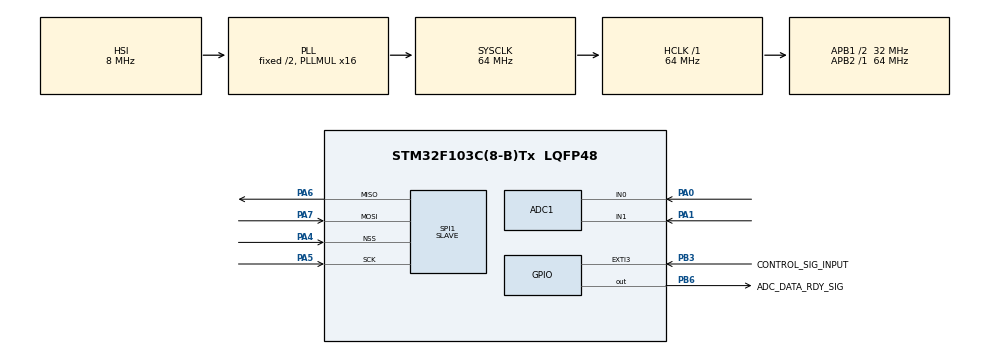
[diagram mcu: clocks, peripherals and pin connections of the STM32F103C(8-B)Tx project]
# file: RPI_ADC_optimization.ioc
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ADC1.Channel-1\#ChannelRegularConversion=ADC_CHANNEL_0
ADC1.Channel-2\#ChannelRegularConversion=ADC_CHANNEL_1
ADC1.ContinuousConvMode=ENABLE
ADC1.Mode=ADC_DUALMODE_INTERLSLOW
ADC1.NbrOfConversion=2
ADC1.NbrOfConversionFlag=1
ADC1.Rank-1\#ChannelRegularConversion=1
ADC1.Rank-2\#ChannelRegularConversion=2
ADC1.SamplingTime-1\#ChannelRegularConversion=ADC_SAMPLETIME_13CYCLES_5
ADC1.SamplingTime-2\#ChannelRegularConversion=ADC_SAMPLETIME_13CYCLES_5
ADC1.master=1
ADC2.Channel-2\#ChannelRegularConversion=ADC_CHANNEL_0
ADC2.Channel-3\#ChannelRegularConversion=ADC_CHANNEL_1
ADC2.ContinuousConvMode=ENABLE
ADC2.Mode=ADC_DUALMODE_INTERLSLOW
ADC2.NbrOfConversion=2
ADC2.NbrOfConversionFlag=1
ADC2.Rank-2\#ChannelRegularConversion=1
ADC2.Rank-3\#ChannelRegularConversion=2
ADC2.SamplingTime-2\#ChannelRegularConversion=ADC_SAMPLETIME_13CYCLES_5
ADC2.SamplingTime-3\#ChannelRegularConversion=ADC_SAMPLETIME_13CYCLES_5
Dma.ADC1.1.Direction=DMA_PERIPH_TO_MEMORY
Dma.ADC1.1.Instance=DMA1_Channel1
Dma.ADC1.1.MemDataAlignment=DMA_MDATAALIGN_WORD
Dma.ADC1.1.MemInc=DMA_MINC_ENABLE
Dma.ADC1.1.Mode=DMA_CIRCULAR
Dma.ADC1.1.PeriphDataAlignment=DMA_PDATAALIGN_WORD
Dma.ADC1.1.PeriphInc=DMA_PINC_DISABLE
Dma.ADC1.1.Priority=DMA_PRIORITY_VERY_HIGH
Dma.Request0=SPI1_RX
Dma.Request1=ADC1
Dma.Request2=SPI1_TX
Dma.SPI1_RX.0.Direction=DMA_PERIPH_TO_MEMORY
Dma.SPI1_RX.0.Instance=DMA1_Channel2
Dma.SPI1_RX.0.MemDataAlignment=DMA_MDATAALIGN_HALFWORD
Dma.SPI1_RX.0.MemInc=DMA_MINC_ENABLE
Dma.SPI1_RX.0.Mode=DMA_NORMAL
Dma.SPI1_RX.0.PeriphDataAlignment=DMA_PDATAALIGN_HALFWORD
Dma.SPI1_RX.0.PeriphInc=DMA_PINC_DISABLE
Dma.SPI1_RX.0.Priority=DMA_PRIORITY_LOW
Dma.SPI1_TX.2.Direction=DMA_MEMORY_TO_PERIPH
Dma.SPI1_TX.2.Instance=DMA1_Channel3
Dma.SPI1_TX.2.MemDataAlignment=DMA_MDATAALIGN_HALFWORD
Dma.SPI1_TX.2.MemInc=DMA_MINC_ENABLE
Dma.SPI1_TX.2.Mode=DMA_NORMAL
Dma.SPI1_TX.2.PeriphDataAlignment=DMA_PDATAALIGN_HALFWORD
Dma.SPI1_TX.2.PeriphInc=DMA_PINC_DISABLE
Dma.SPI1_TX.2.Priority=DMA_PRIORITY_LOW
Mcu.Family=STM32F1
Mcu.Name=STM32F103C(8-B)Tx
Mcu.Package=LQFP48
NVIC.DMA1_Channel1_IRQn=true\:1\:0\:true\:false\:true\:false\:true\:true
NVIC.DMA1_Channel2_IRQn=true\:1\:0\:true\:false\:true\:false\:true\:true
NVIC.DMA1_Channel3_IRQn=true\:1\:0\:true\:false\:true\:false\:true\:true
NVIC.EXTI3_IRQn=true\:0\:0\:false\:false\:true\:true\:true\:true
NVIC.PriorityGroup=NVIC_PRIORITYGROUP_4
PA0-WKUP.Signal=ADCx_IN0
PA1.Signal=ADCx_IN1
PA13.Mode=Serial_Wire
PA13.Signal=SYS_JTMS-SWDIO
PA14.Mode=Serial_Wire
PA14.Signal=SYS_JTCK-SWCLK
PA4.Mode=NSS_Signal_Hard_Input
PA4.Signal=SPI1_NSS
PA5.Mode=Full_Duplex_Slave
PA5.Signal=SPI1_SCK
PA6.Mode=Full_Duplex_Slave
PA6.Signal=SPI1_MISO
PA7.Mode=Full_Duplex_Slave
PA7.Signal=SPI1_MOSI
PB3.GPIO_Label=CONTROL_SIG_INPUT
PB3.GPIO_ModeDefaultEXTI=GPIO_MODE_IT_FALLING
PB3.GPIO_PuPd=GPIO_PULLUP
PB3.Signal=GPXTI3
PB6.GPIO_Label=ADC_DATA_RDY_SIG
PB6.Signal=GPIO_Output
PD0-OSC_IN.Mode=HSE-External-Oscillator
PD0-OSC_IN.Signal=RCC_OSC_IN
PD1-OSC_OUT.Mode=HSE-External-Oscillator
PD1-OSC_OUT.Signal=RCC_OSC_OUT
ProjectManager.HeapSize=0x200
ProjectManager.StackSize=0x400
ProjectManager.TargetToolchain=STM32CubeIDE
RCC.ADCPresc=RCC_ADCPCLK2_DIV6
RCC.AHBFreq_Value=64000000
RCC.APB1CLKDivider=RCC_HCLK_DIV2
RCC.APB1Freq_Value=32000000
RCC.APB1TimFreq_Value=64000000
RCC.APB2Freq_Value=64000000
RCC.APB2TimFreq_Value=64000000
RCC.HCLKFreq_Value=64000000
RCC.PLLMUL=RCC_PLL_MUL16
RCC.SYSCLKFreq_VALUE=64000000
RCC.SYSCLKSource=RCC_SYSCLKSOURCE_PLLCLK
RCC.USBFreq_Value=64000000
SH.ADCx_IN0.0=ADC1_IN0,IN0
SH.ADCx_IN0.1=ADC2_IN0,IN0
SH.ADCx_IN1.0=ADC1_IN1,IN1
SH.ADCx_IN1.1=ADC2_IN1,IN1
SPI1.CLKPhase=SPI_PHASE_1EDGE
SPI1.DataSize=SPI_DATASIZE_16BIT
SPI1.Direction=SPI_DIRECTION_2LINES
SPI1.Mode=SPI_MODE_SLAVE
SPI1.VirtualNSS=VM_NSSHARD
SPI1.VirtualType=VM_SLAVE
board=custom

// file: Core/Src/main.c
/* USER CODE BEGIN Header */
/**
  ******************************************************************************
  MADE by RASBI
  RPI4 + stm32f103c8t6 ADC with SPI
  2025-11-20 first write
  Version: 0.0.1

   Optimized on : 2026 04/07 SAT 15:40 KST
  ******************************************************************************
  */
/* USER CODE END Header */
#include "main.h"

/* USER CODE BEGIN Includes */
#include "adc_set_mode.h"
/* USER CODE END Includes */

/* USER CODE BEGIN PD */
#define BUFFER_SIZE 4096
/* USER CODE END PD */

ADC_HandleTypeDef hadc1;
ADC_HandleTypeDef hadc2;
DMA_HandleTypeDef hdma_adc1;

SPI_HandleTypeDef hspi1;
DMA_HandleTypeDef hdma_spi1_rx;
DMA_HandleTypeDef hdma_spi1_tx;

/* USER CODE BEGIN PV */
volatile uint16_t current_flag = ADC_MODE_STOP;
volatile uint16_t previous_flag = REFRESH_FLAG;
volatile uint16_t spi_transfer_flag = READY_STATUS;
volatile uint16_t exti_flag = WAITING_STATUS;
uint16_t buffer [BUFFER_SIZE];

/* USER CODE END PV */

void SystemClock_Config(void);
static void MX_GPIO_Init(void);
static void MX_DMA_Init(void);
static void MX_SPI1_Init(void);
static void MX_ADC1_Init(void);
static void MX_ADC2_Init(void);

int main(void)
{

  /* MCU Configuration--------------------------------------------------------*/

  /* Reset of all peripherals, Initializes the Flash interface and the Systick. */
  HAL_Init();

  /* Configure the system clock */
  SystemClock_Config();

  /* Initialize all configured peripherals */
  MX_GPIO_Init();
  MX_DMA_Init();
  MX_SPI1_Init();
  MX_ADC1_Init();
  MX_ADC2_Init();
  /* USER CODE BEGIN 2 */
  HAL_GPIO_WritePin(ADC_DATA_RDY_SIG_GPIO_Port, ADC_DATA_RDY_SIG_Pin, GPIO_PIN_RESET);

  /* USER CODE END 2 */

  /* Infinite loop */
  while (1)
  {

    /* USER CODE BEGIN 3 */

	  /* ADC MODE Set Logic */
	  if (current_flag != previous_flag) {
		  previous_flag = current_flag; //save
		  current_flag = BUSY_STATUS; //lock

		  /*
		   * call ADC mode set function.
		   *
		   * Dual ADC Interleaved Mode: Data is transferred in 32-bit Words.
		   * For uint16_t buffers, each DMA transfer fills 2 indices (ADC1 & ADC2).
		   * Argument: Pass (BUFFER_SIZE / 2) to match the number of 32-bit transfers.
		   *
		   * */
		  switch (previous_flag) {
		  case ADC_MODE_STOP:
			  set_adc_mode(ADC_MODE_STOP, buffer, BUFFER_SIZE/2);
			  break;
		  case ADC_MODE_CH1:
			  set_adc_mode(ADC_MODE_CH1, buffer, BUFFER_SIZE/2);
			  break;
		  case ADC_MODE_CH2:
			  set_adc_mode(ADC_MODE_CH2, buffer, BUFFER_SIZE/2);
			  break;
		  case ADC_MODE_CH1_AND_CH2:
			  set_adc_mode(ADC_MODE_CH1_AND_CH2, buffer, BUFFER_SIZE/2);
			  break;
		  }

		  /* while setting adc mode, the spi_transfer_flag must be ignored. */
		  spi_transfer_flag = READY_STATUS;
		  current_flag = previous_flag; //re-load current flag
	  }

	  /*
	   * SPI Transfer Check
	   *
	   * The 'Size' argument in HAL_SPI_Transmit_DMA() represents the number of data frames to be sent.
	   * This project is configured to transmit 16-bit data frames.
	   *
	   * */
	  if (spi_transfer_flag != READY_STATUS) {
		  switch (spi_transfer_flag) {
		  case SPI_HALF_TRANSFER:
			  HAL_GPIO_TogglePin(ADC_DATA_RDY_SIG_GPIO_Port, ADC_DATA_RDY_SIG_Pin);
			  HAL_SPI_Transmit_DMA(&hspi1, (uint8_t*)buffer, BUFFER_SIZE/2);
			  break;
		  case SPI_FULL_TRANSFER:
			  HAL_GPIO_TogglePin(ADC_DATA_RDY_SIG_GPIO_Port, ADC_DATA_RDY_SIG_Pin);
			  HAL_SPI_Transmit_DMA(&hspi1, (uint8_t*)&buffer[2048], BUFFER_SIZE/2);
			  break;
		  }
	  }

	  /* EXTI Check */
	  if (exti_flag != WAITING_STATUS) {
		  get_adc_mode(&current_flag, &previous_flag);
		  exti_flag = WAITING_STATUS;
	  }
  }
  /* USER CODE END 3 */
}

void SystemClock_Config(void)
{
  RCC_OscInitTypeDef RCC_OscInitStruct = {0};
  RCC_ClkInitTypeDef RCC_ClkInitStruct = {0};
  RCC_PeriphCLKInitTypeDef PeriphClkInit = {0};

  /** Initializes the RCC Oscillators according to the specified parameters
  * in the RCC_OscInitTypeDef structure.
  */
  RCC_OscInitStruct.OscillatorType = RCC_OSCILLATORTYPE_HSI;
  RCC_OscInitStruct.HSIState = RCC_HSI_ON;
  RCC_OscInitStruct.HSICalibrationValue = RCC_HSICALIBRATION_DEFAULT;
  RCC_OscInitStruct.PLL.PLLState = RCC_PLL_ON;
  RCC_OscInitStruct.PLL.PLLSource = RCC_PLLSOURCE_HSI_DIV2;
  RCC_OscInitStruct.PLL.PLLMUL = RCC_PLL_MUL16;
  if (HAL_RCC_OscConfig(&RCC_OscInitStruct) != HAL_OK)
  {
    Error_Handler();
  }

  /** Initializes the CPU, AHB and APB buses clocks
  */
  RCC_ClkInitStruct.ClockType = RCC_CLOCKTYPE_HCLK|RCC_CLOCKTYPE_SYSCLK
                              |RCC_CLOCKTYPE_PCLK1|RCC_CLOCKTYPE_PCLK2;
  RCC_ClkInitStruct.SYSCLKSource = RCC_SYSCLKSOURCE_PLLCLK;
  RCC_ClkInitStruct.AHBCLKDivider = RCC_SYSCLK_DIV1;
  RCC_ClkInitStruct.APB1CLKDivider = RCC_HCLK_DIV2;
  RCC_ClkInitStruct.APB2CLKDivider = RCC_HCLK_DIV1;

  if (HAL_RCC_ClockConfig(&RCC_ClkInitStruct, FLASH_LATENCY_2) != HAL_OK)
  {
    Error_Handler();
  }
  PeriphClkInit.PeriphClockSelection = RCC_PERIPHCLK_ADC;
  PeriphClkInit.AdcClockSelection = RCC_ADCPCLK2_DIV6;
  if (HAL_RCCEx_PeriphCLKConfig(&PeriphClkInit) != HAL_OK)
  {
    Error_Handler();
  }
}

static void MX_ADC1_Init(void)
{

  ADC_MultiModeTypeDef multimode = {0};
  ADC_ChannelConfTypeDef sConfig = {0};

  /** Common config
  */
  hadc1.Instance = ADC1;
  hadc1.Init.ScanConvMode = ADC_SCAN_ENABLE;
  hadc1.Init.ContinuousConvMode = ENABLE;
  hadc1.Init.DiscontinuousConvMode = DISABLE;
  hadc1.Init.ExternalTrigConv = ADC_SOFTWARE_START;
  hadc1.Init.DataAlign = ADC_DATAALIGN_RIGHT;
  hadc1.Init.NbrOfConversion = 2;
  if (HAL_ADC_Init(&hadc1) != HAL_OK)
  {
    Error_Handler();
  }

  /** Configure the ADC multi-mode
  */
  multimode.Mode = ADC_DUALMODE_INTERLSLOW;
  if (HAL_ADCEx_MultiModeConfigChannel(&hadc1, &multimode) != HAL_OK)
  {
    Error_Handler();
  }

  /** Configure Regular Channel
  */
  sConfig.Channel = ADC_CHANNEL_0;
  sConfig.Rank = ADC_REGULAR_RANK_1;
  sConfig.SamplingTime = ADC_SAMPLETIME_13CYCLES_5;
  if (HAL_ADC_ConfigChannel(&hadc1, &sConfig) != HAL_OK)
  {
    Error_Handler();
  }

  /** Configure Regular Channel
  */
  sConfig.Channel = ADC_CHANNEL_1;
  sConfig.Rank = ADC_REGULAR_RANK_2;
  if (HAL_ADC_ConfigChannel(&hadc1, &sConfig) != HAL_OK)
  {
    Error_Handler();
  }

}

static void MX_ADC2_Init(void)
{

  ADC_ChannelConfTypeDef sConfig = {0};

  /** Common config
  */
  hadc2.Instance = ADC2;
  hadc2.Init.ScanConvMode = ADC_SCAN_ENABLE;
  hadc2.Init.ContinuousConvMode = ENABLE;
  hadc2.Init.DiscontinuousConvMode = DISABLE;
  hadc2.Init.ExternalTrigConv = ADC_SOFTWARE_START;
  hadc2.Init.DataAlign = ADC_DATAALIGN_RIGHT;
  hadc2.Init.NbrOfConversion = 2;
  if (HAL_ADC_Init(&hadc2) != HAL_OK)
  {
    Error_Handler();
  }

  /** Configure Regular Channel
  */
  sConfig.Channel = ADC_CHANNEL_0;
  sConfig.Rank = ADC_REGULAR_RANK_1;
  sConfig.SamplingTime = ADC_SAMPLETIME_13CYCLES_5;
  if (HAL_ADC_ConfigChannel(&hadc2, &sConfig) != HAL_OK)
  {
    Error_Handler();
  }

  /** Configure Regular Channel
  */
  sConfig.Channel = ADC_CHANNEL_1;
  sConfig.Rank = ADC_REGULAR_RANK_2;
  if (HAL_ADC_ConfigChannel(&hadc2, &sConfig) != HAL_OK)
  {
    Error_Handler();
  }

}

static void MX_SPI1_Init(void)
{

  /* SPI1 parameter configuration*/
  hspi1.Instance = SPI1;
  hspi1.Init.Mode = SPI_MODE_SLAVE;
  hspi1.Init.Direction = SPI_DIRECTION_2LINES;
  hspi1.Init.DataSize = SPI_DATASIZE_16BIT;
  hspi1.Init.CLKPolarity = SPI_POLARITY_LOW;
  hspi1.Init.CLKPhase = SPI_PHASE_1EDGE;
  hspi1.Init.NSS = SPI_NSS_HARD_INPUT;
  hspi1.Init.FirstBit = SPI_FIRSTBIT_MSB;
  hspi1.Init.TIMode = SPI_TIMODE_DISABLE;
  hspi1.Init.CRCCalculation = SPI_CRCCALCULATION_DISABLE;
  hspi1.Init.CRCPolynomial = 10;
  if (HAL_SPI_Init(&hspi1) != HAL_OK)
  {
    Error_Handler();
  }

}

static void MX_DMA_Init(void)
{

  /* DMA controller clock enable */
  __HAL_RCC_DMA1_CLK_ENABLE();

  /* DMA interrupt init */
  /* DMA1_Channel1_IRQn interrupt configuration */
  HAL_NVIC_SetPriority(DMA1_Channel1_IRQn, 1, 0);
  HAL_NVIC_EnableIRQ(DMA1_Channel1_IRQn);
  /* DMA1_Channel2_IRQn interrupt configuration */
  HAL_NVIC_SetPriority(DMA1_Channel2_IRQn, 1, 0);
  HAL_NVIC_EnableIRQ(DMA1_Channel2_IRQn);
  /* DMA1_Channel3_IRQn interrupt configuration */
  HAL_NVIC_SetPriority(DMA1_Channel3_IRQn, 1, 0);
  HAL_NVIC_EnableIRQ(DMA1_Channel3_IRQn);

}

static void MX_GPIO_Init(void)
{
  GPIO_InitTypeDef GPIO_InitStruct = {0};

  /* GPIO Ports Clock Enable */
  __HAL_RCC_GPIOD_CLK_ENABLE();
  __HAL_RCC_GPIOA_CLK_ENABLE();
  __HAL_RCC_GPIOB_CLK_ENABLE();

  /*Configure GPIO pin Output Level */
  HAL_GPIO_WritePin(ADC_DATA_RDY_SIG_GPIO_Port, ADC_DATA_RDY_SIG_Pin, GPIO_PIN_RESET);

  /*Configure GPIO pin : CONTROL_SIG_INPUT_Pin */
  GPIO_InitStruct.Pin = CONTROL_SIG_INPUT_Pin;
  GPIO_InitStruct.Mode = GPIO_MODE_IT_FALLING;
  GPIO_InitStruct.Pull = GPIO_PULLUP;
  HAL_GPIO_Init(CONTROL_SIG_INPUT_GPIO_Port, &GPIO_InitStruct);

  /*Configure GPIO pin : ADC_DATA_RDY_SIG_Pin */
  GPIO_InitStruct.Pin = ADC_DATA_RDY_SIG_Pin;
  GPIO_InitStruct.Mode = GPIO_MODE_OUTPUT_PP;
  GPIO_InitStruct.Pull = GPIO_NOPULL;
  GPIO_InitStruct.Speed = GPIO_SPEED_FREQ_LOW;
  HAL_GPIO_Init(ADC_DATA_RDY_SIG_GPIO_Port, &GPIO_InitStruct);

  /* EXTI interrupt init*/
  HAL_NVIC_SetPriority(EXTI3_IRQn, 0, 0);
  HAL_NVIC_EnableIRQ(EXTI3_IRQn);

}

/* USER CODE BEGIN 4 */
void HAL_ADC_ConvHalfCpltCallback(ADC_HandleTypeDef* hadc) {
	if (current_flag != BUSY_STATUS && current_flag != ADC_MODE_STOP) {
		spi_transfer_flag = SPI_HALF_TRANSFER;
	}
}

void HAL_ADC_ConvCpltCallback(ADC_HandleTypeDef* hadc) {
	if (current_flag != BUSY_STATUS && current_flag != ADC_MODE_STOP) {
		spi_transfer_flag = SPI_FULL_TRANSFER;
	}
}

void HAL_GPIO_EXTI_Callback(uint16_t GPIO_Pin) {
	if (GPIO_Pin == CONTROL_SIG_INPUT_Pin){
		exti_flag = TRIGGERED;
	}
}

/* USER CODE END 4 */

void Error_Handler(void)
{
  __disable_irq();
  while (1)
  {
  }
}
